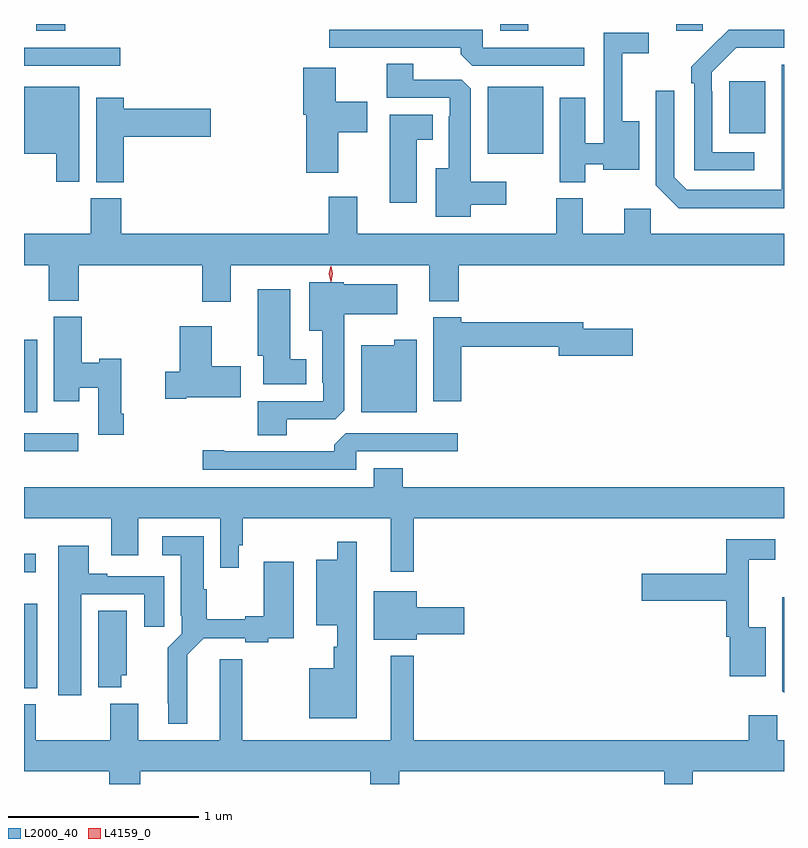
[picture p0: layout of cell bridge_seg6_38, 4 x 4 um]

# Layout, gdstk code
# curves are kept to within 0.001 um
import gdstk
lib = gdstk.Library(unit=1e-6, precision=1e-09)
def R(c, l, rs):  # rectangles x0, y0, x1, y1
    for r in rs: c.add(gdstk.rectangle(r[:2], r[2:], *l))
def P(c, l, *ps):  # polygons
    for p in ps: c.add(gdstk.Polygon(p, *l))
L2000_40 = (2000, 40)
L4159_0 = (4159, 0)

bridge_seg6_38 = lib.new_cell('bridge_seg6_38')
R(bridge_seg6_38, L2000_40, [(1054.303,991.729,1054.372,992.173), (1054.303,992.34,1054.366,992.436), (1054.303,992.976,1054.588,993.072), (1054.303,993.182,1054.372,993.562), (1056.743,994.541,1057.036,994.894), (1058.015,994.649,1058.203,994.924), (1054.303,995.004,1054.81,995.1), (1054.367,995.189,1054.52,995.225), (1056.809,995.189,1056.957,995.225), (1057.736,995.19,1057.875,995.225)])
P(bridge_seg6_38, L2000_40, [(1058.146,994.551),(1057.926,994.551),(1057.926,994.871),(1057.923,994.871),(1057.923,994.971),(1058.052,995.1),(1058.303,995.1),(1058.303,995.196),(1058.012,995.196),(1057.815,995.001),(1057.815,994.913),(1057.83,994.913),(1057.83,994.455),(1058.146,994.455)],
  [(1057.252,995.1),(1056.717,995.1),(1056.717,995.196),(1055.91,995.196),(1055.91,995.1),(1056.602,995.1),(1056.602,995.066),(1056.663,995.004),(1057.252,995.004)],
  [(1057.258,994.487),(1057.352,994.487),(1057.352,994.457),(1057.54,994.457),(1057.54,994.714),(1057.451,994.714),(1057.451,995.07),(1057.591,995.07),(1057.591,995.178),(1057.353,995.178),(1057.353,994.597),(1057.258,994.597),(1057.258,994.837),(1057.124,994.837),(1057.124,994.393),(1057.258,994.393)],
  [(1056.655,994.274),(1056.841,994.274),(1056.841,994.396),(1056.655,994.396),(1056.655,994.883),(1056.606,994.932),(1056.352,994.932),(1056.352,995.015),(1056.212,995.015),(1056.212,994.836),(1056.543,994.836),(1056.543,994.739),(1056.539,994.739),(1056.539,994.465),(1056.47,994.465),(1056.47,994.211),(1056.655,994.211)],
  [(1058.303,995.01),(1058.292,995.01),(1058.292,994.553),(1058.291,994.553),(1058.291,994.353),(1057.791,994.353),(1057.725,994.419),(1057.725,994.873),(1057.629,994.873),(1057.629,994.377),(1057.75,994.256),(1058.303,994.256)],
  [(1055.956,994.654),(1056.109,994.654),(1056.109,994.816),(1055.944,994.816),(1055.944,994.996),(1055.774,994.996),(1055.774,994.747),(1055.789,994.747),(1055.789,994.443),(1055.956,994.443)],
  [(1054.594,994.894),(1054.303,994.894),(1054.303,994.541),(1054.472,994.541),(1054.472,994.395),(1054.594,994.395)],
  [(1054.829,994.631),(1055.287,994.631),(1055.287,994.778),(1054.829,994.778),(1054.829,994.837),(1054.682,994.837),(1054.682,994.393),(1054.829,994.393)],
  [(1056.37,994.616),(1056.454,994.616),(1056.454,994.747),(1056.227,994.747),(1056.227,994.284),(1056.37,994.284)],
  [(1055.392,993.956),(1056.437,993.956),(1056.437,993.767),(1056.59,993.767),(1056.59,993.956),(1058.303,993.956),(1058.303,994.12),(1057.602,994.12),(1057.602,994.252),(1057.463,994.252),(1057.463,994.12),(1057.243,994.12),(1057.243,994.308),(1057.103,994.308),(1057.103,994.12),(1056.058,994.12),(1056.058,994.315),(1055.906,994.315),(1055.906,994.12),(1054.814,994.12),(1054.814,994.308),(1054.654,994.308),(1054.654,994.12),(1054.303,994.12),(1054.303,993.956),(1054.432,993.956),(1054.432,993.769),(1054.592,993.769),(1054.592,993.956),(1055.24,993.956),(1055.24,993.762),(1055.392,993.762)],
  [(1055.686,993.144),(1055.94,993.144),(1055.989,993.193),(1055.989,993.698),(1056.268,993.698),(1056.268,993.856),(1055.985,993.856),(1055.985,993.865),(1055.804,993.865),(1055.804,993.611),(1055.873,993.611),(1055.873,993.337),(1055.877,993.337),(1055.877,993.24),(1055.534,993.24),(1055.534,993.061),(1055.686,993.061)],
  [(1055.788,993.46),(1055.704,993.46),(1055.704,993.829),(1055.534,993.829),(1055.534,993.48),(1055.561,993.48),(1055.561,993.329),(1055.788,993.329)],
  [(1054.829,993.175),(1054.816,993.175),(1054.816,993.464),(1054.698,993.464),(1054.698,993.441),(1054.607,993.441),(1054.607,993.684),(1054.46,993.684),(1054.46,993.24),(1054.594,993.24),(1054.594,993.311),(1054.694,993.311),(1054.694,993.063),(1054.829,993.063)],
  [(1056.605,993.526),(1057.118,993.526),(1057.118,993.479),(1057.507,993.479),(1057.507,993.621),(1057.246,993.621),(1057.246,993.655),(1056.605,993.655),(1056.605,993.682),(1056.458,993.682),(1056.458,993.24),(1056.605,993.24)],
  [(1055.158,993.26),(1055.443,993.26),(1055.443,993.423),(1055.29,993.423),(1055.29,993.634),(1055.123,993.634),(1055.123,993.395),(1055.046,993.395),(1055.046,993.253),(1055.158,993.253)],
  [(1056.37,993.562),(1056.252,993.562),(1056.252,993.535),(1056.077,993.535),(1056.077,993.182),(1056.37,993.182)],
  [(1056.051,992.976),(1056.586,992.976),(1056.586,993.072),(1055.997,993.072),(1055.936,993.01),(1055.936,992.976),(1055.356,992.976),(1055.356,992.981),(1055.244,992.981),(1055.244,992.88),(1056.051,992.88)],
  [(1054.303,992.624),(1054.763,992.624),(1054.763,992.43),(1054.903,992.43),(1054.903,992.624),(1055.337,992.624),(1055.337,992.364),(1055.434,992.364),(1055.434,992.482),(1055.453,992.482),(1055.453,992.624),(1056.233,992.624),(1056.233,992.343),(1056.355,992.343),(1056.355,992.624),(1058.303,992.624),(1058.303,992.788),(1056.296,992.788),(1056.296,992.887),(1056.143,992.887),(1056.143,992.788),(1054.303,992.788)],
  [(1055.161,991.904),(1055.248,991.992),(1055.468,991.992),(1055.468,991.972),(1055.588,991.972),(1055.588,991.992),(1055.722,991.992),(1055.722,992.395),(1055.564,992.395),(1055.564,992.108),(1055.468,992.108),(1055.468,992.093),(1055.266,992.093),(1055.266,992.25),(1055.248,992.25),(1055.248,992.53),(1055.031,992.53),(1055.031,992.429),(1055.129,992.429),(1055.129,992.11),(1055.133,992.11),(1055.133,992.016),(1055.059,991.942),(1055.059,991.651),(1055.063,991.651),(1055.063,991.541),(1055.161,991.541)],
  [(1058.206,992.05),(1058.117,992.05),(1058.117,992.406),(1058.257,992.406),(1058.257,992.514),(1057.999,992.514),(1057.999,992.331),(1057.554,992.331),(1057.554,992.189),(1057.999,992.189),(1057.999,992.001),(1058.018,992.001),(1058.018,991.793),(1058.206,991.793)],
  [(1056.055,992.5),(1055.951,992.5),(1055.951,992.404),(1055.84,992.404),(1055.84,992.06),(1055.951,992.06),(1055.951,991.947),(1055.934,991.947),(1055.934,991.834),(1055.804,991.834),(1055.804,991.571),(1056.055,991.571)],
  [(1054.603,992.223),(1054.937,992.223),(1054.937,992.052),(1055.041,992.052),(1055.041,992.319),(1054.741,992.319),(1054.741,992.332),(1054.645,992.332),(1054.645,992.479),(1054.484,992.479),(1054.484,991.692),(1054.603,991.692)],
  [(1056.37,992.012),(1056.619,992.012),(1056.619,992.154),(1056.37,992.154),(1056.37,992.239),(1056.143,992.239),(1056.143,991.985),(1056.37,991.985)],
  [(1058.303,992.209),(1058.295,992.209),(1058.295,991.713),(1058.303,991.705)],
  [(1054.816,991.797),(1054.843,991.797),(1054.843,992.138),(1054.694,992.138),(1054.694,991.733),(1054.816,991.733)],
  [(1054.916,991.292),(1056.126,991.292),(1056.126,991.225),(1056.278,991.225),(1056.278,991.292),(1057.673,991.292),(1057.673,991.225),(1057.824,991.225),(1057.824,991.292),(1058.303,991.292),(1058.303,991.456),(1058.268,991.456),(1058.268,991.588),(1058.117,991.588),(1058.117,991.456),(1056.355,991.456),(1056.355,991.9),(1056.233,991.9),(1056.233,991.456),(1055.451,991.456),(1055.451,991.882),(1055.333,991.882),(1055.333,991.456),(1054.903,991.456),(1054.903,991.648),(1054.756,991.648),(1054.756,991.456),(1054.365,991.456),(1054.365,991.644),(1054.303,991.644),(1054.303,991.292),(1054.751,991.292),(1054.751,991.225),(1054.916,991.225)])
P(bridge_seg6_38, L4159_0, [(1055.918,993.869),(1055.908,993.91),(1055.918,993.951),(1055.918,993.951),(1055.919,993.951),(1055.928,993.91),(1055.919,993.869),(1055.919,993.869)])

lib.write_gds('bridge_seg6_38.gds')
